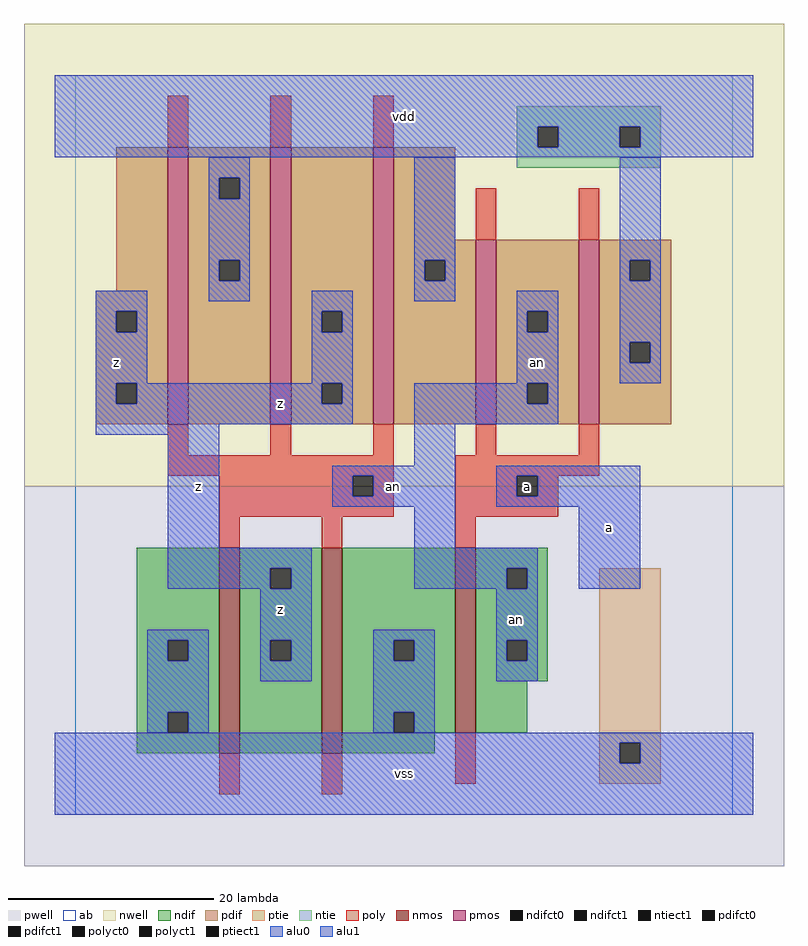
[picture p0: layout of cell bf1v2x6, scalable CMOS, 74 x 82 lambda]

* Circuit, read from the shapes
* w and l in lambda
.subckt bf1v2x6 a an vdd vss z
M1 z an vss vss nfet w=20 l=2 m=2
M2 an a vss vss nfet w=18 l=2
M3 vdd an z vdd pfet w=27 l=2 m=3
M4 an a vdd vdd pfet w=18 l=2 m=2
.ends

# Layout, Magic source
magic
tech scmos
<< ab >>
rect 0 0 64 72
<< nwell >>
rect -5 32 69 77
<< pwell >>
rect -5 -5 69 32
<< poly >>
rect 9 65 11 70
rect 19 65 21 70
rect 29 65 31 70
rect 39 56 41 61
rect 49 56 51 61
rect 9 35 11 38
rect 19 35 21 38
rect 29 35 31 38
rect 39 35 41 38
rect 49 35 51 38
rect 9 33 31 35
rect 14 31 27 33
rect 29 31 31 33
rect 14 29 31 31
rect 37 33 51 35
rect 37 31 43 33
rect 45 31 47 33
rect 37 29 47 31
rect 14 26 16 29
rect 24 26 26 29
rect 37 26 39 29
rect 14 2 16 6
rect 24 2 26 6
rect 37 3 39 8
<< ndif >>
rect 6 17 14 26
rect 6 15 9 17
rect 11 15 14 17
rect 6 10 14 15
rect 6 8 9 10
rect 11 8 14 10
rect 6 6 14 8
rect 16 24 24 26
rect 16 22 19 24
rect 21 22 24 24
rect 16 17 24 22
rect 16 15 19 17
rect 21 15 24 17
rect 16 6 24 15
rect 26 17 37 26
rect 26 15 31 17
rect 33 15 37 17
rect 26 10 37 15
rect 26 8 31 10
rect 33 8 37 10
rect 39 24 46 26
rect 39 22 42 24
rect 44 22 46 24
rect 39 17 46 22
rect 39 15 42 17
rect 44 15 46 17
rect 39 13 46 15
rect 39 8 44 13
rect 26 6 35 8
<< pdif >>
rect 4 51 9 65
rect 2 49 9 51
rect 2 47 4 49
rect 6 47 9 49
rect 2 42 9 47
rect 2 40 4 42
rect 6 40 9 42
rect 2 38 9 40
rect 11 62 19 65
rect 11 60 14 62
rect 16 60 19 62
rect 11 54 19 60
rect 11 52 14 54
rect 16 52 19 54
rect 11 38 19 52
rect 21 49 29 65
rect 21 47 24 49
rect 26 47 29 49
rect 21 42 29 47
rect 21 40 24 42
rect 26 40 29 42
rect 21 38 29 40
rect 31 56 37 65
rect 31 54 39 56
rect 31 52 34 54
rect 36 52 39 54
rect 31 38 39 52
rect 41 49 49 56
rect 41 47 44 49
rect 46 47 49 49
rect 41 42 49 47
rect 41 40 44 42
rect 46 40 49 42
rect 41 38 49 40
rect 51 54 58 56
rect 51 52 54 54
rect 56 52 58 54
rect 51 46 58 52
rect 51 44 54 46
rect 56 44 58 46
rect 51 38 58 44
<< alu1 >>
rect -2 67 66 72
rect -2 65 45 67
rect 47 65 53 67
rect 55 65 66 67
rect -2 64 66 65
rect 2 49 7 51
rect 2 47 4 49
rect 6 47 7 49
rect 2 42 7 47
rect 23 49 27 51
rect 23 47 24 49
rect 26 47 27 49
rect 23 42 27 47
rect 2 40 4 42
rect 6 40 24 42
rect 26 40 27 42
rect 2 38 27 40
rect 2 37 14 38
rect 9 26 14 37
rect 41 33 55 34
rect 41 31 43 33
rect 45 31 55 33
rect 41 30 55 31
rect 9 24 23 26
rect 9 22 19 24
rect 21 22 23 24
rect 49 22 55 30
rect 18 17 23 22
rect 18 15 19 17
rect 21 15 23 17
rect 18 13 23 15
rect -2 7 66 8
rect -2 5 53 7
rect 55 5 66 7
rect -2 0 66 5
<< ptie >>
rect 51 7 57 24
rect 51 5 53 7
rect 55 5 57 7
rect 51 3 57 5
<< ntie >>
rect 43 67 57 69
rect 43 65 45 67
rect 47 65 53 67
rect 55 65 57 67
rect 43 63 57 65
<< nmos >>
rect 14 6 16 26
rect 24 6 26 26
rect 37 8 39 26
<< pmos >>
rect 9 38 11 65
rect 19 38 21 65
rect 29 38 31 65
rect 39 38 41 56
rect 49 38 51 56
<< polyct0 >>
rect 27 31 29 33
<< polyct1 >>
rect 43 31 45 33
<< ndifct0 >>
rect 9 15 11 17
rect 9 8 11 10
rect 31 15 33 17
rect 31 8 33 10
rect 42 22 44 24
rect 42 15 44 17
<< ndifct1 >>
rect 19 22 21 24
rect 19 15 21 17
<< ntiect1 >>
rect 45 65 47 67
rect 53 65 55 67
<< ptiect1 >>
rect 53 5 55 7
<< pdifct0 >>
rect 14 60 16 62
rect 14 52 16 54
rect 34 52 36 54
rect 44 47 46 49
rect 44 40 46 42
rect 54 52 56 54
rect 54 44 56 46
<< pdifct1 >>
rect 4 47 6 49
rect 4 40 6 42
rect 24 47 26 49
rect 24 40 26 42
<< alu0 >>
rect 13 62 17 64
rect 13 60 14 62
rect 16 60 17 62
rect 13 54 17 60
rect 13 52 14 54
rect 16 52 17 54
rect 13 50 17 52
rect 33 54 37 64
rect 33 52 34 54
rect 36 52 37 54
rect 33 50 37 52
rect 53 54 57 64
rect 53 52 54 54
rect 56 52 57 54
rect 43 49 47 51
rect 43 47 44 49
rect 46 47 47 49
rect 43 42 47 47
rect 53 46 57 52
rect 53 44 54 46
rect 56 44 57 46
rect 53 42 57 44
rect 33 40 44 42
rect 46 40 47 42
rect 33 38 47 40
rect 33 34 37 38
rect 25 33 37 34
rect 25 31 27 33
rect 29 31 37 33
rect 25 30 37 31
rect 33 26 37 30
rect 33 24 45 26
rect 33 22 42 24
rect 44 22 45 24
rect 7 17 13 18
rect 7 15 9 17
rect 11 15 13 17
rect 7 10 13 15
rect 29 17 35 18
rect 29 15 31 17
rect 33 15 35 17
rect 7 8 9 10
rect 11 8 13 10
rect 29 10 35 15
rect 41 17 45 22
rect 41 15 42 17
rect 44 15 45 17
rect 41 13 45 15
rect 29 8 31 10
rect 33 8 35 10
<< labels >>
rlabel alu0 31 32 31 32 6 an
rlabel alu0 43 19 43 19 6 an
rlabel alu0 45 44 45 44 6 an
rlabel alu1 12 32 12 32 6 z
rlabel alu1 4 44 4 44 6 z
rlabel alu1 20 20 20 20 6 z
rlabel alu1 20 40 20 40 6 z
rlabel alu1 32 4 32 4 6 vss
rlabel polyct1 44 32 44 32 6 a
rlabel alu1 32 68 32 68 6 vdd
rlabel alu1 52 28 52 28 6 a
<< end >>
